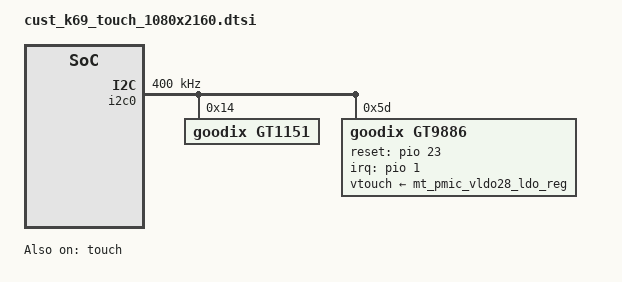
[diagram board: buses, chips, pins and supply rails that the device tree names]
// SPDX-License-Identifier: GPL-2.0+
/*
 * Copyright (c) 2019 MediaTek Inc.
 *
 */

/* TOUCH start */
&i2c0 {
	clock-frequency = <400000>;
	pinctrl-names = "default", "ts_int_active",
		"ts_reset_active", "ts_int_suspend",
		"ts_reset_suspend", "ts_i2c_mode",
		"ts_eint_high";
	pinctrl-0 = <&ctp_pins_default>;
	pinctrl-1 = <&ctp_ts_int_active>;
	pinctrl-2 = <&ctp_ts_reset_active>;
	pinctrl-3 = <&ctp_ts_int_suspend>;
	pinctrl-4 = <&ctp_ts_reset_suspend>;
	pinctrl-5 = <&ctp_ts_i2c_mode>;
	pinctrl-6 = <&ctp_ts_int_as_gpio>;

	gt1151@14 {
		compatible = "goodix,gt1151";
		reg = <0x14>;
		status = "okay";
	};

	gt9886@5d {
		compatible = "goodix,gt9886";
		reg = <0x5d>;
		status = "okay";
		interrupt-parent = <&pio>;
		interrupts = <1 IRQ_TYPE_EDGE_FALLING 1 0>;
		vtouch-supply = <&mt_pmic_vldo28_ldo_reg>;
		goodix,reset-gpio = <&pio 23 0x0>;
		goodix,irq-gpio = <&pio 1 0x0>;
		goodix,irq-flags = <2>; /* 1:rising, 2:falling;*/
		goodix,panel-max-id = <10>;
		goodix,panel-max-x = <1080>;
		goodix,panel-max-y = <2160>;
		goodix,panel-max-w = <256>;
		goodix,panel-max-p = <256>;
		goodix,input-max-x = <1080>;
		goodix,input-max-y = <2160>;
		goodix,panel-key-map = <158 172 217>; /*BACK,HOMEPAGE,SEARCH*/
		goodix,power-on-delay-us = <10000>; /*10ms*/
		goodix,power-off-delay-us = <5000>;
		goodix,firmware-version = "6785ae";
		goodix,config-version = "6785v99";
		/*goodix,swap-axis;*/
		/*goodix,x2x;*/
		/*goodix,y2y;*/
		goodix,pen-enable;
		goodix,key-of-pen = <331 332>;/*BTN_STYLUS, BTN_STYLUS2*/
		tpd-filter-enable = <0>;
		tpd-filter-pixel-density = <161>;
		tpd-filter-custom-prameters = <0 0 0 0 0 0 0 0 0 0 0 0>;
		tpd-filter-custom-speed = <0 0 0>;
	};

};

&touch {
	tpd-resolution = <1080 2160>;
	lcm-resolution = <1080 2160>;
	tpd-cfg-version = "config19";
	tpd-max-touch-num = <10>;
	interrupt-parent = <&pio>;
	interrupts = <1 IRQ_TYPE_EDGE_FALLING 1 0>;
	goodix,eint-gpio = <&pio 1 0x0>;
	goodix,reset-gpio = <&pio 23 0x0>;
	vtouch-supply = <&mt_pmic_vldo28_ldo_reg>;

	/* Rotate cord when open blew lables */
	/*goodix,x2x;*/
	/*goodix,y2y;*/

	tpd-filter-enable = <0>;
	tpd-filter-pixel-density = <168>;
	tpd-filter-custom-prameters = <0 0 0 0 0 0 0 0 0 0 0 0>;
	tpd-filter-custom-speed = <0 0 0>;
	status = "okay";
};

&pio {
	ctp_pins_default: eintdefault {
	};
	ctp_ts_int_active: int_active {
		pins_cmd_dat {
			pinmux = <PINMUX_GPIO1__FUNC_GPIO1>;
			input-enable;
			bias-pill-up = <MTK_PUPD_SET_R1R0_11>;
		};
	};
	ctp_ts_reset_active: reset_active {
		pins_cmd_dat {
			pinmux = <PINMUX_GPIO23__FUNC_GPIO23>;
			slew-rate = <1>;
			output-high;
		};
	};
	ctp_ts_int_suspend: int_suspend {
		pins_cmd_dat {
			pinmux = <PINMUX_GPIO1__FUNC_GPIO1>;
			slew-rate = <1>;
			output-low;
		};
	};
	ctp_ts_reset_suspend: reset_suspend {
		pins_cmd_dat {
			pinmux = <PINMUX_GPIO23__FUNC_GPIO23>;
			slew-rate = <1>;
			output-low;
		};
	};
	ctp_ts_i2c_mode: i2cmode_default {
		pins_cmd_dat {
			pinmux = <PINMUX_GPIO82__FUNC_SDA0>,
				<PINMUX_GPIO83__FUNC_SCL0>;
		};
	};
	ctp_ts_int_as_gpio: int_high {
		pins_cmd_dat {
			pinmux = <PINMUX_GPIO1__FUNC_GPIO1>;
			slew-rate = <1>;
			output-high;
		};
	};
};
/* TOUCH end */
